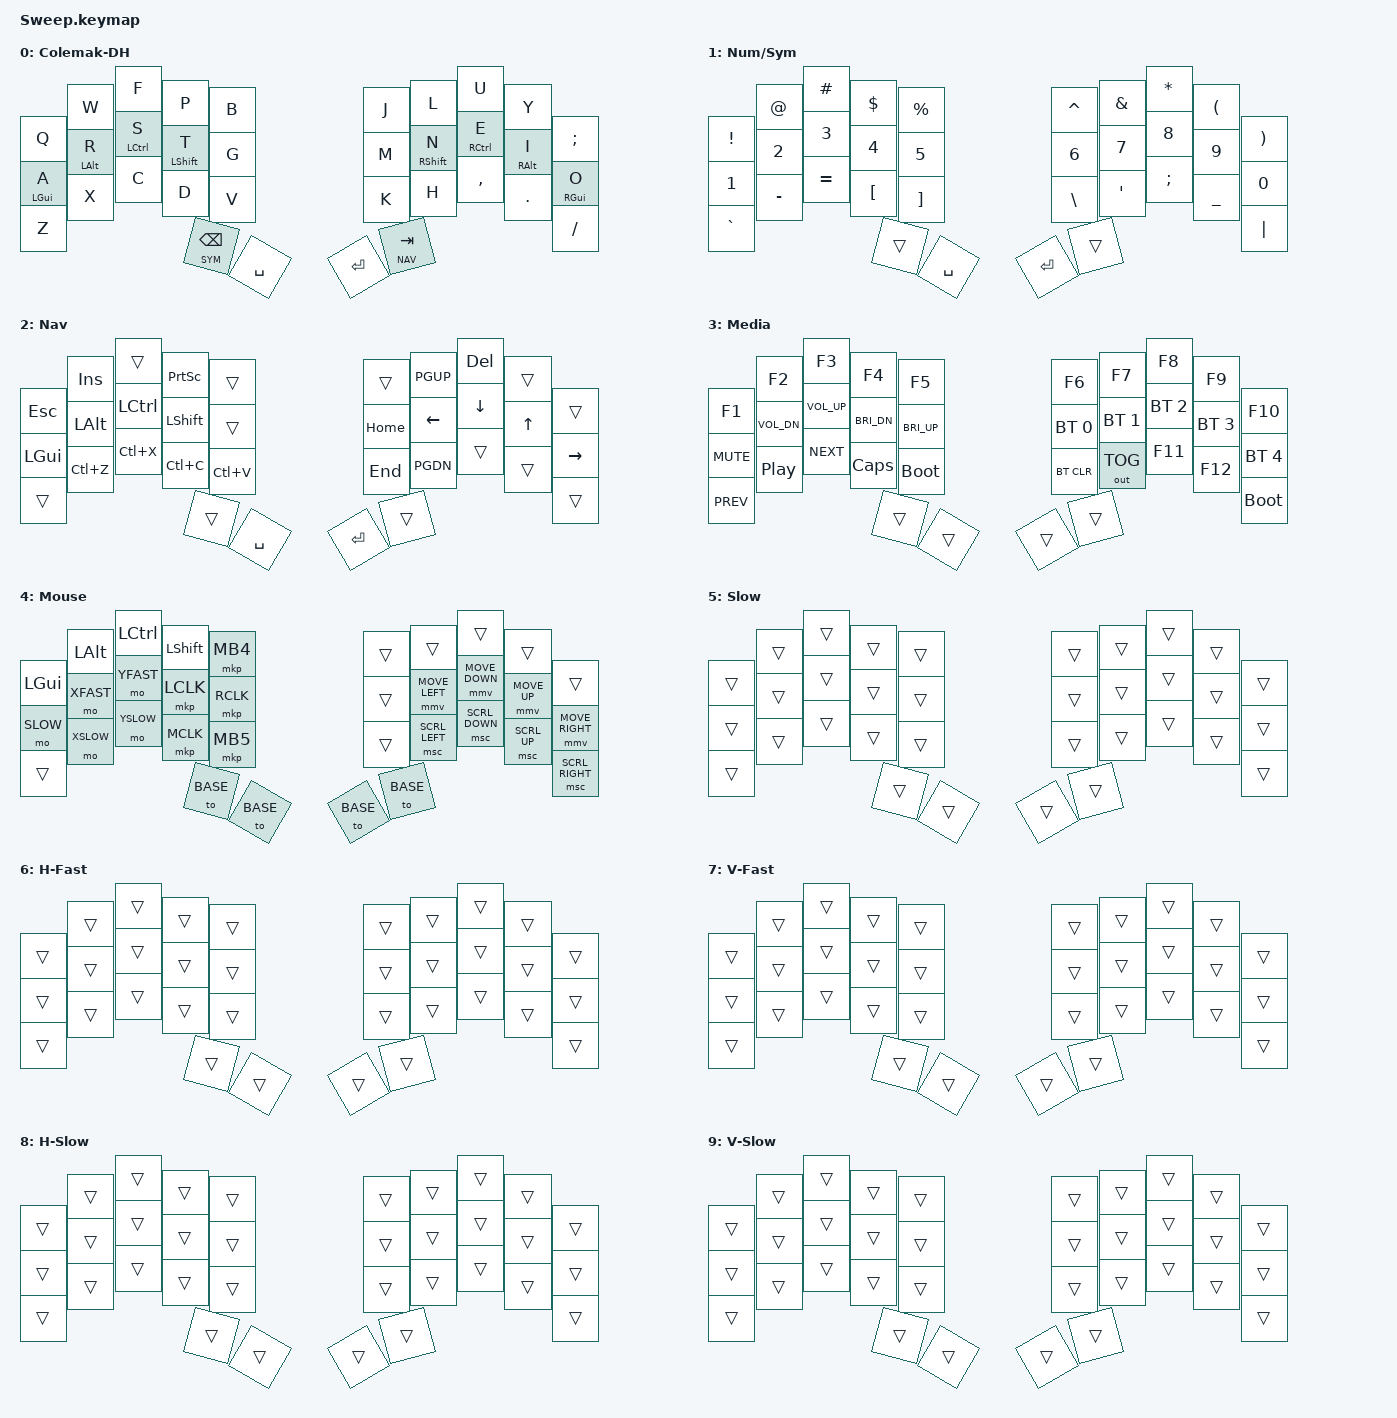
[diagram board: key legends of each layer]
/*
 * Copyright (c) 2020 The ZMK Contributors
 *
 * SPDX-License-Identifier: MIT
 */

// Base mouse values — must be defined before pointing.h is included
#define ZMK_POINTING_DEFAULT_MOVE_VAL 1200   // default: 600
#define ZMK_POINTING_DEFAULT_SCRL_VAL 60     // default: 10

#include <input/processors.dtsi>
#include <zephyr/dt-bindings/input/input-event-codes.h>
#include <dt-bindings/zmk/pointing.h>
#include <behaviors.dtsi>
#include <dt-bindings/zmk/keys.h>
#include <dt-bindings/zmk/bt.h>
#include <dt-bindings/zmk/outputs.h>

// ─── Key positions ──────────────────────────────────────────────────
//  0  1  2  3  4       5  6  7  8  9
// 10 11 12 13 14      15 16 17 18 19
// 20 21 22 23 24      25 26 27 28 29
//          30 31      32 33

// ─── Layers ─────────────────────────────────────────────────────────
#define BASE  0
#define SYM   1
#define NAV   2
#define MEDIA 3
#define MOUSE 4
#define SLOW  5   // A: both axes slow
#define XFAST 6   // R: horizontal fast
#define YFAST 7   // S: vertical fast
#define XSLOW 8   // X: horizontal slow
#define YSLOW 9   // C: vertical slow

// ─── Mouse speed (multiplier = num den) ─────────────────────────────
// Normal speed is MOVE_VAL * NORMAL. Each held speed key multiplies on top,
// and they stack: S + X = vertical fast, horizontal slow.
#define MMV_X_NORMAL 2 1   // 2400
#define MMV_Y_NORMAL 3 2   // 1800
#define SPEED_SLOW   1 6   // A      → 400 / 300
#define SPEED_FAST   2 1   // R / S  → 4800 / 3600
#define SPEED_SLOWER 1 4   // X / C  → 600 / 450

// Scroll: same keys, applied to the matching wheel axis
#define SCRL_NORMAL  1 1
#define SCRL_SLOW    1 3   // A

/ {
    // Per-axis scroll scalers (ZMK only ships one for both wheel axes)
    zip_hwheel_scaler: zip_hwheel_scaler {
        compatible = "zmk,input-processor-scaler";
        #input-processor-cells = <2>;
        type = <INPUT_EV_REL>;
        codes = <INPUT_REL_HWHEEL>;
        track-remainders;
    };

    zip_wheel_scaler: zip_wheel_scaler {
        compatible = "zmk,input-processor-scaler";
        #input-processor-cells = <2>;
        type = <INPUT_EV_REL>;
        codes = <INPUT_REL_WHEEL>;
        track-remainders;
    };
};

// Overrides use process-next so every matching one applies, then the base.
&mmv_input_listener {
    input-processors = <&zip_x_scaler MMV_X_NORMAL>, <&zip_y_scaler MMV_Y_NORMAL>;

    slow {
        layers = <SLOW>;
        input-processors = <&zip_xy_scaler SPEED_SLOW>;
        process-next;
    };

    x_fast {
        layers = <XFAST>;
        input-processors = <&zip_x_scaler SPEED_FAST>;
        process-next;
    };

    y_fast {
        layers = <YFAST>;
        input-processors = <&zip_y_scaler SPEED_FAST>;
        process-next;
    };

    x_slow {
        layers = <XSLOW>;
        input-processors = <&zip_x_scaler SPEED_SLOWER>;
        process-next;
    };

    y_slow {
        layers = <YSLOW>;
        input-processors = <&zip_y_scaler SPEED_SLOWER>;
        process-next;
    };
};

&msc_input_listener {
    input-processors = <&zip_scroll_scaler SCRL_NORMAL>;

    slow {
        layers = <SLOW>;
        input-processors = <&zip_scroll_scaler SCRL_SLOW>;
        process-next;
    };

    x_fast {
        layers = <XFAST>;
        input-processors = <&zip_hwheel_scaler SPEED_FAST>;
        process-next;
    };

    y_fast {
        layers = <YFAST>;
        input-processors = <&zip_wheel_scaler SPEED_FAST>;
        process-next;
    };

    x_slow {
        layers = <XSLOW>;
        input-processors = <&zip_hwheel_scaler SPEED_SLOWER>;
        process-next;
    };

    y_slow {
        layers = <YSLOW>;
        input-processors = <&zip_wheel_scaler SPEED_SLOWER>;
        process-next;
    };
};

// Short tap scrolls a little, holding ramps up to full speed
&msc {
    acceleration-exponent = <1>;
    time-to-max-speed-ms = <300>;
    delay-ms = <0>;
};

&mmv {
    time-to-max-speed-ms = <500>;
    acceleration-exponent = <1>;
    trigger-period-ms = <16>;
};

// Thumb layer-taps: quick-tap lets tap-then-hold repeat BSPC/TAB
&lt {
    flavor = "balanced";
    tapping-term-ms = <200>;
    quick-tap-ms = <175>;
};

/ {
    behaviors {
        // Balanced hold-tap with prior-idle to prevent false mod triggers while typing
        hm: homerow_mods {
            compatible = "zmk,behavior-hold-tap";
            #binding-cells = <2>;
            flavor = "balanced";
            tapping-term-ms = <280>;
            quick-tap-ms = <175>;
            require-prior-idle-ms = <150>;
            bindings = <&kp>, <&kp>;
        };
    };

    // Hold both outer thumbs (Sym + Nav) → Media
    conditional_layers {
        compatible = "zmk,conditional-layers";

        tri_layer {
            if-layers = <SYM NAV>;
            then-layer = <MEDIA>;
        };
    };

    combos {
        compatible = "zmk,combos";

        // Tap both inner thumbs (Space + Enter) → toggle mouse layer
        combo_mouse {
            bindings = <&tog MOUSE>;
            key-positions = <31 32>;
            timeout-ms = <60>;
            require-prior-idle-ms = <150>;
            layers = <BASE MOUSE>;
        };

        // N+E → ESC (right index+middle home row), only on base layer
        combo_esc {
            bindings = <&kp ESC>;
            key-positions = <16 17>;
            timeout-ms = <50>;
            require-prior-idle-ms = <150>;
            layers = <BASE>;
        };
    };

    keymap {
        compatible = "zmk,keymap";

        // ─── Layer 0: Colemak-DH + Home Row Mods ───────────────────────
        // G=GUI  A=ALT  C=CTRL  S=SHIFT  (mirrored left/right)
        default_layer {
            display-name = "Colemak-DH";
            bindings = <
&kp Q         &kp W         &kp F          &kp P          &kp B      &kp J       &kp L          &kp U          &kp Y         &kp SEMI
&hm LGUI A    &hm LALT R    &hm LCTRL S    &hm LSHFT T    &kp G      &kp M       &hm RSHFT N    &hm RCTRL E    &hm RALT I    &hm RGUI O
&kp Z         &kp X         &kp C          &kp D          &kp V      &kp K       &kp H          &kp COMMA      &kp DOT       &kp FSLH
                                            &lt SYM BSPC  &kp SPACE  &kp ENTER   &lt NAV TAB
            >;
        };

        // ─── Layer 1: Numbers & Symbols ─────────────────────────────
        // Hold L-outer (BSPC key). + R-outer → Media
        lower_layer {
            display-name = "Num/Sym";
            bindings = <
&kp EXCL    &kp AT      &kp HASH    &kp DLLR    &kp PRCNT    &kp CARET   &kp AMPS    &kp STAR    &kp LPAR    &kp RPAR
&kp N1      &kp N2      &kp N3      &kp N4      &kp N5       &kp N6      &kp N7      &kp N8      &kp N9      &kp N0
&kp GRAVE   &kp MINUS   &kp EQUAL   &kp LBKT    &kp RBKT     &kp BSLH    &kp SQT     &kp SEMI    &kp UNDER   &kp PIPE
                                     &trans      &kp SPACE    &kp ENTER   &trans
            >;
        };

        // ─── Layer 2: Navigation ────────────────────────────────────
        // Hold R-outer (TAB key). N/E/I/O = LEFT/DOWN/UP/RIGHT
        // Left home row = plain GUI/ALT/CTRL/SHIFT, so Tab+A+S+O = Win+Ctrl+→
        // works whichever key lands first.
        // + L-outer → Media
        raise_layer {
            display-name = "Nav";
            bindings = <
&kp ESC     &kp INS     &trans      &kp PSCRN   &trans       &trans      &kp PGUP    &kp DEL     &trans      &trans
&kp LGUI    &kp LALT    &kp LCTRL   &kp LSHFT   &trans       &kp HOME    &kp LEFT    &kp DOWN    &kp UP      &kp RIGHT
&trans      &kp LC(Z)   &kp LC(X)   &kp LC(C)   &kp LC(V)    &kp END     &kp PGDN    &trans      &trans      &trans
                                     &trans      &kp SPACE    &kp ENTER   &trans
            >;
        };

        // ─── Layer 3: Media / Bluetooth / System ────────────────────
        // Hold both outer thumbs (Sym + Nav).
        // Bootloader is per-half: left one flashes left, right one flashes right.
        // D = Caps Lock (moved here from Nav).
        media_layer {
            display-name = "Media";
            bindings = <
&kp F1          &kp F2          &kp F3          &kp F4          &kp F5             &kp F6          &kp F7          &kp F8          &kp F9          &kp F10
&kp C_MUTE      &kp C_VOL_DN    &kp C_VOL_UP    &kp C_BRI_DN    &kp C_BRI_UP       &bt BT_SEL 0    &bt BT_SEL 1    &bt BT_SEL 2    &bt BT_SEL 3    &bt BT_SEL 4
&kp C_PREV      &kp C_PP        &kp C_NEXT      &kp CAPS        &bootloader        &bt BT_CLR      &out OUT_TOG    &kp F11         &kp F12         &bootloader
                                                &trans          &trans             &trans          &trans
            >;
        };

        // ─── Layer 4: Mouse ───────────────────────────────────────────
        // Toggle: tap both inner thumbs. Exit: tap both inner thumbs, or any thumb.
        // Right home   — N/E/I/O = move LEFT/DOWN/UP/RIGHT
        // Right bottom — H/,/./⁄ = scroll LEFT/DOWN/UP/RIGHT (same fingers, one row down)
        // Left top     — Q/W/F/P = GUI/ALT/CTRL/SHIFT (for ctrl-click, shift-click…)   B=MB4(back)
        // Left home    — A=slow (both axes)   R=horizontal fast   S=vertical fast   T=LCLK   G=RCLK
        // Left bottom  —                      X=horizontal slow   C=vertical slow   D=MCLK   V=MB5(fwd)
        // Speed keys are held and stack (e.g. S + X = vertical fast, horizontal slow).
        mouse_layer {
            display-name = "Mouse";
            bindings = <
&kp LGUI        &kp LALT        &kp LCTRL       &kp LSHFT       &mkp MB4        &trans  &trans           &trans           &trans           &trans
&mo SLOW        &mo XFAST       &mo YFAST       &mkp LCLK       &mkp RCLK       &trans  &mmv MOVE_LEFT   &mmv MOVE_DOWN   &mmv MOVE_UP     &mmv MOVE_RIGHT
&trans          &mo XSLOW       &mo YSLOW       &mkp MCLK       &mkp MB5        &trans  &msc SCRL_LEFT   &msc SCRL_DOWN   &msc SCRL_UP     &msc SCRL_RIGHT
                                                &to BASE        &to BASE        &to BASE  &to BASE
            >;
        };

        // Layers 5-9 only switch mouse speed (see the input listener
        // overrides above); every key falls through to the mouse layer.

        // ─── Layer 5: Slow, both axes (A) ─────────────────────────────
        slow_mouse {
            display-name = "Slow";
            bindings = <
&trans  &trans  &trans  &trans  &trans    &trans  &trans  &trans  &trans  &trans
&trans  &trans  &trans  &trans  &trans    &trans  &trans  &trans  &trans  &trans
&trans  &trans  &trans  &trans  &trans    &trans  &trans  &trans  &trans  &trans
                        &trans  &trans    &trans  &trans
            >;
        };

        // ─── Layer 6: Horizontal fast (R) ─────────────────────────────
        x_fast_mouse {
            display-name = "H-Fast";
            bindings = <
&trans  &trans  &trans  &trans  &trans    &trans  &trans  &trans  &trans  &trans
&trans  &trans  &trans  &trans  &trans    &trans  &trans  &trans  &trans  &trans
&trans  &trans  &trans  &trans  &trans    &trans  &trans  &trans  &trans  &trans
                        &trans  &trans    &trans  &trans
            >;
        };

        // ─── Layer 7: Vertical fast (S) ─────────────────────────────
        y_fast_mouse {
            display-name = "V-Fast";
            bindings = <
&trans  &trans  &trans  &trans  &trans    &trans  &trans  &trans  &trans  &trans
&trans  &trans  &trans  &trans  &trans    &trans  &trans  &trans  &trans  &trans
&trans  &trans  &trans  &trans  &trans    &trans  &trans  &trans  &trans  &trans
                        &trans  &trans    &trans  &trans
            >;
        };

        // ─── Layer 8: Horizontal slow (X) ─────────────────────────────
        x_slow_mouse {
            display-name = "H-Slow";
            bindings = <
&trans  &trans  &trans  &trans  &trans    &trans  &trans  &trans  &trans  &trans
&trans  &trans  &trans  &trans  &trans    &trans  &trans  &trans  &trans  &trans
&trans  &trans  &trans  &trans  &trans    &trans  &trans  &trans  &trans  &trans
                        &trans  &trans    &trans  &trans
            >;
        };

        // ─── Layer 9: Vertical slow (C) ─────────────────────────────
        y_slow_mouse {
            display-name = "V-Slow";
            bindings = <
&trans  &trans  &trans  &trans  &trans    &trans  &trans  &trans  &trans  &trans
&trans  &trans  &trans  &trans  &trans    &trans  &trans  &trans  &trans  &trans
&trans  &trans  &trans  &trans  &trans    &trans  &trans  &trans  &trans  &trans
                        &trans  &trans    &trans  &trans
            >;
        };
    };
};
